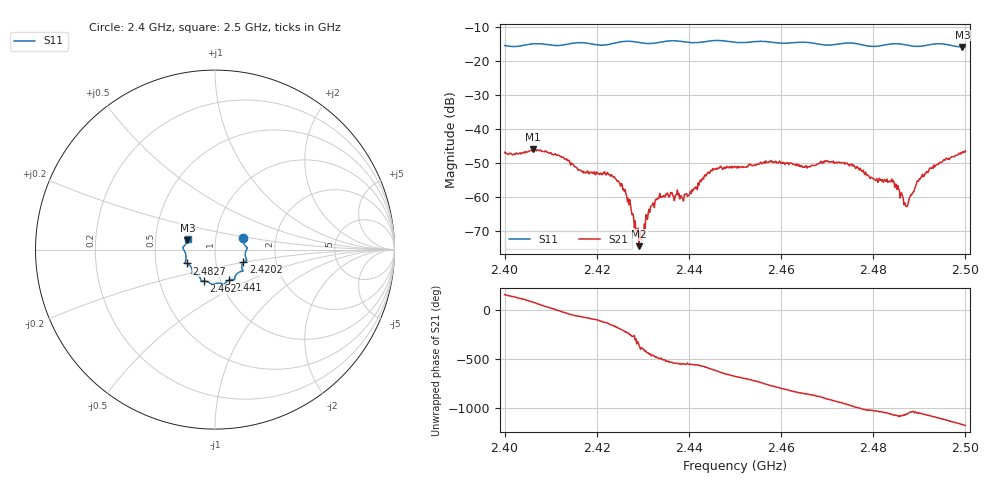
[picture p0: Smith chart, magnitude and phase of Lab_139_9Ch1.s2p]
# Hz S RI R 50
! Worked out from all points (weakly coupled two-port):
!   601 points, 2.4 GHz to 2.5 GHz, reference 50 ohm
!   highest |S21| = -46.01 dB at 2.4062 GHz (marker M1); lowest = -74.6 dB at 2.4292 GHz (marker M2)
!   lowest |S11| = -15.8 dB at 2.4993 GHz (marker M3), VSWR 1.39, Z = 36.5 + j3.87 ohm
!   |S11| at or under -10 dB: start of sweep to end of sweep
!   S12 and S22 are empty: the file has one direction only
!   S11 on the Smith chart (normalised r, x): 2.4 GHz: 1.36, +0.18; 2.4202 GHz: 1.36, -0.20; 2.441 GHz: 1.10, -0.39; 2.462 GHz: 0.84, -0.30; 2.4827 GHz: 0.72, -0.11; 2.5 GHz: 0.73, +0.09
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2.4e9  0.1581 0.0624  -0.00407 0.00202  0 0  0 0
2.406167e9  0.1796 0.011  0.00125 0.00484  0 0  0 0
2.416667e9  0.1772 -0.0608  0.000816 -0.00224  0 0  0 0
2.420167e9  0.1583 -0.0711  -0.000485 -0.00215  0 0  0 0
2.422833e9  0.1492 -0.096  -0.00182 -0.00107  0 0  0 0
2.425833e9  0.1559 -0.1172  -0.00108 0.000715  0 0  0 0
2.429167e9  0.1444 -0.1215  0.000187 -8.74e-06  0 0  0 0
2.429667e9  0.1397 -0.1232  0.00021 -9.14e-05  0 0  0 0
2.431167e9  0.1252 -0.1321  0.000132 -0.000559  0 0  0 0
2.433333e9  0.1115 -0.1511  -0.000596 -0.000724  0 0  0 0
2.441e9  0.0785 -0.1698  -0.00123 0.000372  0 0  0 0
2.445167e9  0.0519 -0.1936  -0.00105 0.00239  0 0  0 0
2.45e9  0.0281 -0.1876  0.00199 0.00197  0 0  0 0
2.462e9  -0.0607 -0.1755  -0.000681 -0.00306  0 0  0 0
2.466667e9  -0.0788 -0.1681  -0.00239 -0.00166  0 0  0 0
2.473833e9  -0.1252 -0.135  -0.00177 0.00246  0 0  0 0
2.482667e9  -0.1562 -0.077  0.00139 0.000982  0 0  0 0
2.483333e9  -0.1604 -0.0751  0.0015 0.000739  0 0  0 0
2.487167e9  -0.163 -0.0586  0.00066 0.000287  0 0  0 0
2.492e9  -0.1734 -0.0016  0.00237 0.000247  0 0  0 0
2.499333e9  -0.1537 0.0516  0.000446 -0.00459  0 0  0 0
2.5e9  -0.1519 0.0608  -0.000394 -0.00476  0 0  0 0
